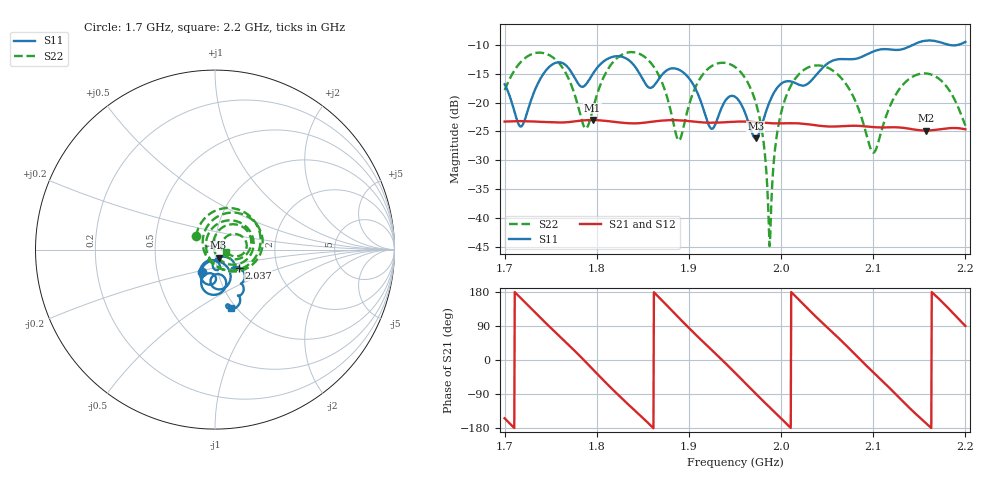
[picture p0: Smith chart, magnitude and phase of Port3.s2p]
# Hz S RI R 50
! CMT, CMT808U, 21440046, 21.4.3/4
! Date: 11/20/2025 11:28:07 PM
! Data: Format (Calibration Info)
! Freq	S11:Re/Im(F2)	S41:Re/Im(F2)	S14:Re/Im(F2)	S44:Re/Im(F2)
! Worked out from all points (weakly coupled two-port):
!   1001 points, 1.7 GHz to 2.2 GHz, reference 50 ohm
!   highest |S21| = -23.03 dB at 1.796 GHz (marker M1); lowest = -24.8 dB at 2.157 GHz (marker M2)
!   lowest |S11| = -26.2 dB at 1.972 GHz (marker M3), VSWR 1.10, Z = 51.8 - j4.63 ohm
!   |S11| at or under -10 dB: start of sweep to 2.143 GHz; 2.182365 GHz to 2.191969 GHz (9.604 MHz wide, 0.439 % of centre)
!   |S22| runs from -44.9 to -11.3 dB; largest |S21 - S12| = 0.0017
!   S11 on the Smith chart (normalised r, x): 1.7 GHz: 0.84, -0.21; 2.037 GHz: 1.28, -0.26; 2.2 GHz: 0.95, -0.69
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1.7e9  -0.0741 -0.1234  -0.0614 -0.0302  -0.0624 -0.0292  -0.1049 0.0737
1.718e9  0.00132 -0.0621  -0.0657 0.0213  -0.0657 0.0227  0.0257 0.2252
1.746e9  0.083 -0.1762  -0.00513 0.0675  -0.00388 0.068  0.2533 0.0712
1.7835e9  0.0078 -0.1371  0.0695 0.00743  0.07 0.00608  -0.026 -0.0669
1.7955e9  0.0584 -0.1663  0.0644 -0.0288  0.0642 -0.0303  -0.0683 0.0528
1.8275e9  -0.0338 -0.247  -0.0139 -0.0655  -0.0153 -0.0655  0.1874 0.1812
1.867e9  0.00519 -0.1586  -0.0675 0.0161  -0.0674 0.0176  0.1252 -0.1211
1.889e9  -0.0609 -0.1831  -0.0259 0.0653  -0.0246 0.0661  -0.0449 -0.0135
1.924e9  -0.0134 -0.0581  0.059 0.0315  0.0599 0.0303  0.1396 0.1506
1.95e9  0.00113 -0.1123  0.057 -0.0377  0.0563 -0.0392  0.2025 -0.0214
1.9725e9  0.02 -0.0446  0.00128 -0.0676  -0.000318 -0.0678  0.0637 -0.0774
1.9805e9  0.0567 -0.04  -0.0208 -0.0635  -0.0223 -0.0632  0.0177 -0.0454
1.9875e9  0.0868 -0.052  -0.0377 -0.0545  -0.039 -0.0538  -0.00524 -0.00224
1.9945e9  0.1063 -0.075  -0.0514 -0.0415  -0.0525 -0.0404  -0.0081 0.0459
2.002e9  0.1099 -0.1008  -0.0617 -0.0239  -0.0624 -0.0225  0.0104 0.0929
2.0335e9  0.1241 -0.0967  -0.0362 0.053  -0.035 0.0539  0.1776 0.1066
2.0365e9  0.1343 -0.1003  -0.0292 0.0567  -0.0279 0.0574  0.1874 0.0931
2.071e9  0.1465 -0.1872  0.0498 0.0382  0.0506 0.0372  0.1331 -0.0514
2.0995e9  0.1596 -0.2249  0.0525 -0.0319  0.0518 -0.0331  0.0369 0.00306
2.117e9  0.1332 -0.2569  0.0187 -0.0581  0.0174 -0.0586  0.0577 0.0672
2.157e9  0.1153 -0.3242  -0.0556 -0.0136  -0.0559 -0.0123  0.1766 0.0281
2.2e9  0.0883 -0.3238  0.000296 0.0587  0.00162 0.0587  0.0621 -0.0111
